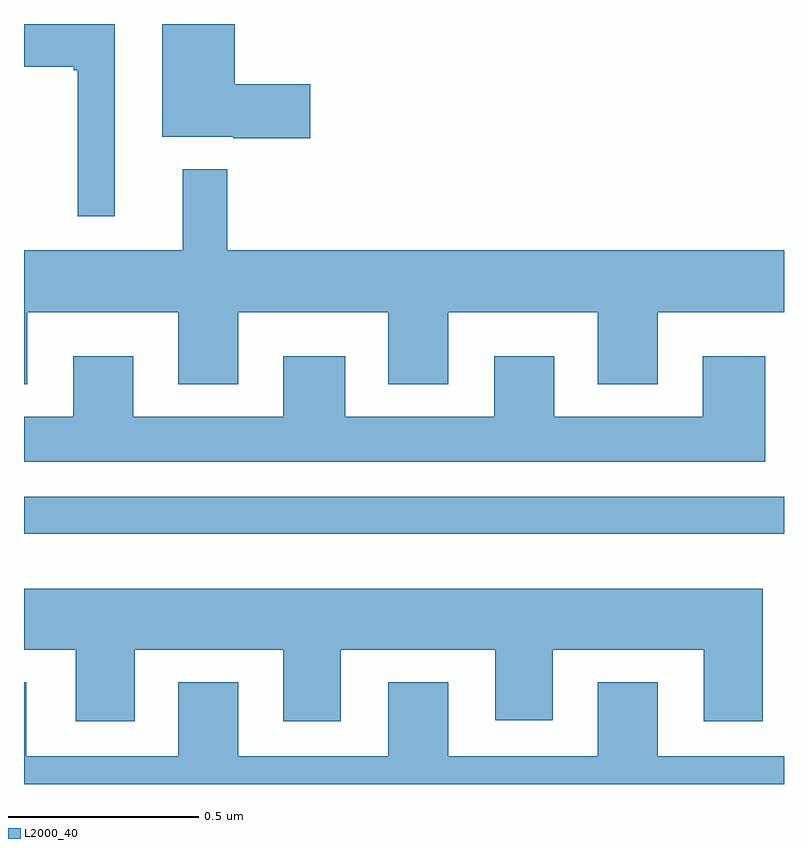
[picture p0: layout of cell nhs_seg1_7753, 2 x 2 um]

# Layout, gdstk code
import gdstk
lib = gdstk.Library(unit=1e-6, precision=1e-09)
def R(c, l, rs):  # rectangles x0, y0, x1, y1
    for r in rs: c.add(gdstk.rectangle(r[:2], r[2:], *l))
def P(c, l, *ps):  # polygons
    for p in ps: c.add(gdstk.Polygon(p, *l))
L2000_40 = (2000, 40)

nhs_seg1_7753 = lib.new_cell('nhs_seg1_7753')
R(nhs_seg1_7753, L2000_40, [(208,509.858,210,509.955)])
P(nhs_seg1_7753, L2000_40, [(208.239,511.199),(208.131,511.199),(208.131,511.198),(208,511.198),(208,511.087),(208.131,511.087),(208.131,511.077),(208.142,511.077),(208.142,510.693),(208.239,510.693)],
  [(208.753,511.04),(208.555,511.04),(208.555,511.199),(208.364,511.199),(208.364,510.902),(208.551,510.902),(208.551,510.898),(208.753,510.898)],
  [(208.009,510.44),(208.406,510.44),(208.406,510.251),(208.564,510.251),(208.564,510.44),(208.958,510.44),(208.958,510.251),(209.116,510.251),(209.116,510.44),(209.51,510.44),(209.51,510.251),(209.668,510.251),(209.668,510.44),(210,510.44),(210,510.604),(208.535,510.604),(208.535,510.817),(208.418,510.817),(208.418,510.604),(208,510.604),(208,510.251),(208.009,510.251)],
  [(209.95,510.325),(209.786,510.325),(209.786,510.166),(209.395,510.166),(209.395,510.325),(209.237,510.325),(209.237,510.166),(208.846,510.166),(208.846,510.325),(208.682,510.325),(208.682,510.166),(208.288,510.166),(208.288,510.325),(208.13,510.325),(208.13,510.166),(208,510.166),(208,510.047),(209.95,510.047)],
  [(208.291,509.552),(208.682,509.552),(208.682,509.364),(208.834,509.364),(208.834,509.552),(209.24,509.552),(209.24,509.367),(209.392,509.367),(209.392,509.552),(209.789,509.552),(209.789,509.364),(209.944,509.364),(209.944,509.713),(208,509.713),(208,509.552),(208.136,509.552),(208.136,509.364),(208.291,509.364)],
  [(210,509.272),(209.668,509.272),(209.668,509.467),(209.51,509.467),(209.51,509.272),(209.116,509.272),(209.116,509.467),(208.958,509.467),(208.958,509.272),(208.564,509.272),(208.564,509.467),(208.406,509.467),(208.406,509.272),(208.006,509.272),(208.006,509.467),(208,509.467),(208,509.199),(210,509.199)])

lib.write_gds('nhs_seg1_7753.gds')
